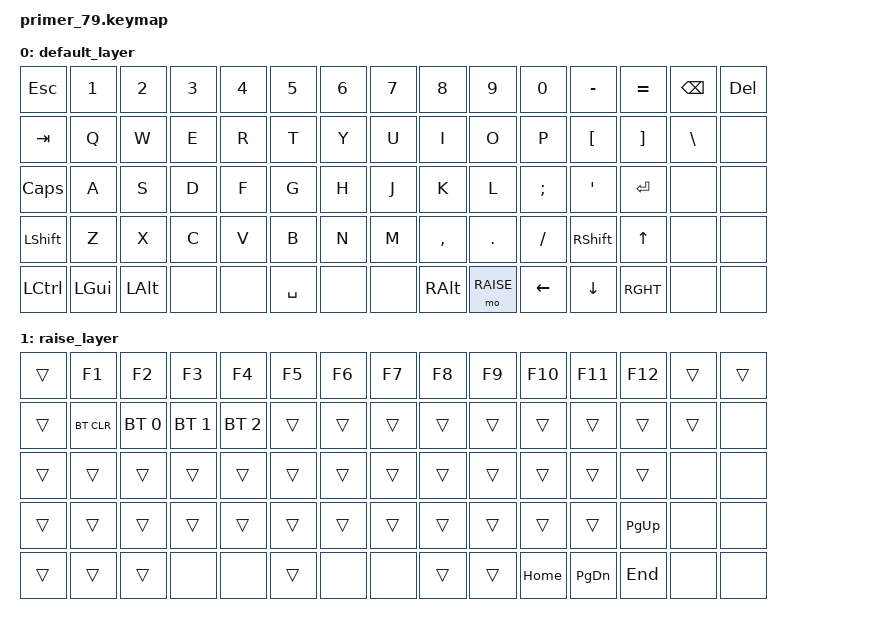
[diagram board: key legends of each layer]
#include <behaviors.dtsi>
#include <dt-bindings/zmk/keys.h>
#include <dt-bindings/zmk/bt.h>

#define DEFAULT 0
#define RAISE 1

/ {
    keymap {
        compatible = "zmk,keymap";

        default_layer {
            bindings = <
            &kp ESC      &kp N1       &kp N2       &kp N3       &kp N4       &kp N5       &kp N6       &kp N7       &kp N8       &kp N9       &kp N0       &kp MINUS    &kp EQUAL    &kp BSPC     &kp DEL
            &kp TAB      &kp Q        &kp W        &kp E        &kp R        &kp T        &kp Y        &kp U        &kp I        &kp O        &kp P        &kp LBKT     &kp RBKT     &kp BSLH     &none
            &kp CAPS     &kp A        &kp S        &kp D        &kp F        &kp G        &kp H        &kp J        &kp K        &kp L        &kp SEMI     &kp SQT      &kp RET      &none        &none
            &kp LSHFT    &kp Z        &kp X        &kp C        &kp V        &kp B        &kp N        &kp M        &kp COMMA    &kp DOT      &kp FSLH     &kp RSHFT    &kp UP       &none        &none
            &kp LCTRL    &kp LGUI     &kp LALT     &none        &none        &kp SPACE    &none        &none        &kp RALT     &mo RAISE    &kp LEFT     &kp DOWN     &kp RGHT     &none        &none
            >;
        };

        raise_layer {
            bindings = <
            &trans       &kp F1       &kp F2       &kp F3       &kp F4       &kp F5       &kp F6       &kp F7       &kp F8       &kp F9       &kp F10      &kp F11      &kp F12      &trans       &trans
            &trans       &bt BT_CLR   &bt BT_SEL 0 &bt BT_SEL 1 &bt BT_SEL 2 &trans       &trans       &trans       &trans       &trans       &trans       &trans       &trans       &trans       &none
            &trans       &trans       &trans       &trans       &trans       &trans       &trans       &trans       &trans       &trans       &trans       &trans       &trans       &none        &none
            &trans       &trans       &trans       &trans       &trans       &trans       &trans       &trans       &trans       &trans       &trans       &trans       &kp PG_UP    &none        &none
            &trans       &trans       &trans       &none        &none        &trans       &none        &none        &trans       &trans       &kp HOME     &kp PG_DN    &kp END      &none        &none
            >;
        };
    };
};
